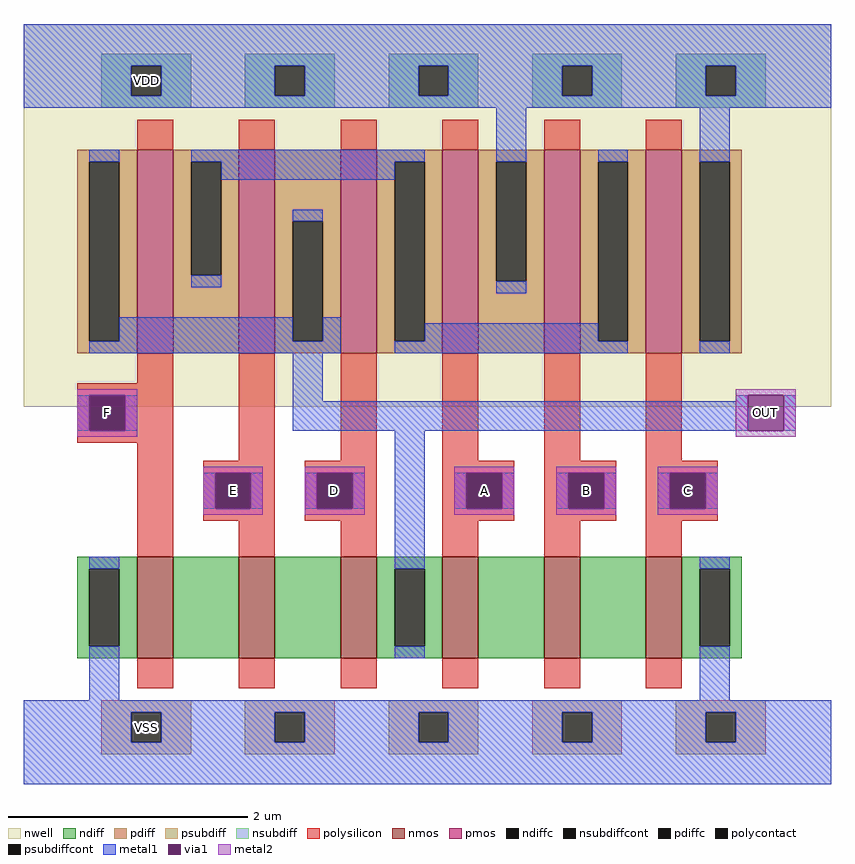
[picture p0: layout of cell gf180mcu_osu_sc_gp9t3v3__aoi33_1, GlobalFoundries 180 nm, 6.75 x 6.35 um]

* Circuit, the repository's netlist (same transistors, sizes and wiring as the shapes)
** sch_path: /foss/designs/AOI33/Pre Layout/Schematic/gf180mcu_osu_sc_gp9t3v3__aoi33_1.sch
.subckt gf180mcu_osu_sc_gp9t3v3__aoi33_1 VDD C B A F E D OUT VSS
*.iopin VSS
*.iopin VDD
*.ipin A
*.ipin D
*.ipin E
*.ipin B
*.ipin C
*.ipin F
*.opin OUT
XM1 OUT A net1 VSS nfet_03v3 L=0.3u W=0.85u nf=1 ad='int((nf+1)/2) * W/nf * 0.18u' as='int((nf+2)/2) * W/nf * 0.18u' pd='2*int((nf+1)/2) * (W/nf + 0.18u)'
+ ps='2*int((nf+2)/2) * (W/nf + 0.18u)' nrd='0.18u / W' nrs='0.18u / W' sa=0 sb=0 sd=0 m=1
XM7 net5 A VDD VDD pfet_03v3 L=0.3u W=1.7u nf=1 ad='int((nf+1)/2) * W/nf * 0.18u' as='int((nf+2)/2) * W/nf * 0.18u' pd='2*int((nf+1)/2) * (W/nf + 0.18u)'
+ ps='2*int((nf+2)/2) * (W/nf + 0.18u)' nrd='0.18u / W' nrs='0.18u / W' sa=0 sb=0 sd=0 m=1
XM8 net5 B VDD VDD pfet_03v3 L=0.3u W=1.7u nf=1 ad='int((nf+1)/2) * W/nf * 0.18u' as='int((nf+2)/2) * W/nf * 0.18u' pd='2*int((nf+1)/2) * (W/nf + 0.18u)'
+ ps='2*int((nf+2)/2) * (W/nf + 0.18u)' nrd='0.18u / W' nrs='0.18u / W' sa=0 sb=0 sd=0 m=1
XM9 net5 C VDD VDD pfet_03v3 L=0.3u W=1.7u nf=1 ad='int((nf+1)/2) * W/nf * 0.18u' as='int((nf+2)/2) * W/nf * 0.18u' pd='2*int((nf+1)/2) * (W/nf + 0.18u)'
+ ps='2*int((nf+2)/2) * (W/nf + 0.18u)' nrd='0.18u / W' nrs='0.18u / W' sa=0 sb=0 sd=0 m=1
XM10 OUT D net5 VDD pfet_03v3 L=0.3u W=1.7u nf=1 ad='int((nf+1)/2) * W/nf * 0.18u' as='int((nf+2)/2) * W/nf * 0.18u' pd='2*int((nf+1)/2) * (W/nf + 0.18u)'
+ ps='2*int((nf+2)/2) * (W/nf + 0.18u)' nrd='0.18u / W' nrs='0.18u / W' sa=0 sb=0 sd=0 m=1
XM11 OUT E net5 VDD pfet_03v3 L=0.3u W=1.7u nf=1 ad='int((nf+1)/2) * W/nf * 0.18u' as='int((nf+2)/2) * W/nf * 0.18u' pd='2*int((nf+1)/2) * (W/nf + 0.18u)'
+ ps='2*int((nf+2)/2) * (W/nf + 0.18u)' nrd='0.18u / W' nrs='0.18u / W' sa=0 sb=0 sd=0 m=1
XM12 OUT F net5 VDD pfet_03v3 L=0.3u W=1.7u nf=1 ad='int((nf+1)/2) * W/nf * 0.18u' as='int((nf+2)/2) * W/nf * 0.18u' pd='2*int((nf+1)/2) * (W/nf + 0.18u)'
+ ps='2*int((nf+2)/2) * (W/nf + 0.18u)' nrd='0.18u / W' nrs='0.18u / W' sa=0 sb=0 sd=0 m=1
XM2 net1 B net2 VSS nfet_03v3 L=0.3u W=0.85u nf=1 ad='int((nf+1)/2) * W/nf * 0.18u' as='int((nf+2)/2) * W/nf * 0.18u' pd='2*int((nf+1)/2) * (W/nf + 0.18u)'
+ ps='2*int((nf+2)/2) * (W/nf + 0.18u)' nrd='0.18u / W' nrs='0.18u / W' sa=0 sb=0 sd=0 m=1
XM3 net2 C VSS VSS nfet_03v3 L=0.3u W=0.85u nf=1 ad='int((nf+1)/2) * W/nf * 0.18u' as='int((nf+2)/2) * W/nf * 0.18u' pd='2*int((nf+1)/2) * (W/nf + 0.18u)'
+ ps='2*int((nf+2)/2) * (W/nf + 0.18u)' nrd='0.18u / W' nrs='0.18u / W' sa=0 sb=0 sd=0 m=1
XM4 net3 F VSS VSS nfet_03v3 L=0.3u W=0.85u nf=1 ad='int((nf+1)/2) * W/nf * 0.18u' as='int((nf+2)/2) * W/nf * 0.18u' pd='2*int((nf+1)/2) * (W/nf + 0.18u)'
+ ps='2*int((nf+2)/2) * (W/nf + 0.18u)' nrd='0.18u / W' nrs='0.18u / W' sa=0 sb=0 sd=0 m=1
XM5 net4 E net3 VSS nfet_03v3 L=0.3u W=0.85u nf=1 ad='int((nf+1)/2) * W/nf * 0.18u' as='int((nf+2)/2) * W/nf * 0.18u' pd='2*int((nf+1)/2) * (W/nf + 0.18u)'
+ ps='2*int((nf+2)/2) * (W/nf + 0.18u)' nrd='0.18u / W' nrs='0.18u / W' sa=0 sb=0 sd=0 m=1
XM6 OUT D net4 VSS nfet_03v3 L=0.3u W=0.85u nf=1 ad='int((nf+1)/2) * W/nf * 0.18u' as='int((nf+2)/2) * W/nf * 0.18u' pd='2*int((nf+1)/2) * (W/nf + 0.18u)'
+ ps='2*int((nf+2)/2) * (W/nf + 0.18u)' nrd='0.18u / W' nrs='0.18u / W' sa=0 sb=0 sd=0 m=1
.ends gf180mcu_osu_sc_gp9t3v3__aoi33_1

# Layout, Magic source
magic
tech gf180mcuD
<< nwell >>
rect 106 63 241 127
<< nmos >>
rect 125 21 131 38
rect 142 21 148 38
rect 159 21 165 38
rect 176 21 182 38
rect 193 21 199 38
rect 210 21 216 38
<< pmos >>
rect 125 72 131 106
rect 142 72 148 106
rect 159 72 165 106
rect 176 72 182 106
rect 193 72 199 106
rect 210 72 216 106
<< ndiff >>
rect 115 36 125 38
rect 115 23 117 36
rect 122 23 125 36
rect 115 21 125 23
rect 131 21 142 38
rect 148 21 159 38
rect 165 36 176 38
rect 165 23 168 36
rect 173 23 176 36
rect 165 21 176 23
rect 182 21 193 38
rect 199 21 210 38
rect 216 36 226 38
rect 216 23 219 36
rect 224 23 226 36
rect 216 21 226 23
<< pdiff >>
rect 115 104 125 106
rect 115 74 117 104
rect 122 74 125 104
rect 115 72 125 74
rect 131 104 142 106
rect 131 85 134 104
rect 139 85 142 104
rect 131 72 142 85
rect 148 94 159 106
rect 148 74 151 94
rect 156 74 159 94
rect 148 72 159 74
rect 165 104 176 106
rect 165 74 168 104
rect 173 74 176 104
rect 165 72 176 74
rect 182 104 193 106
rect 182 84 185 104
rect 190 84 193 104
rect 182 72 193 84
rect 199 104 210 106
rect 199 74 202 104
rect 207 74 210 104
rect 199 72 210 74
rect 216 104 226 106
rect 216 74 219 104
rect 224 74 226 104
rect 216 72 226 74
<< ndiffc >>
rect 117 23 122 36
rect 168 23 173 36
rect 219 23 224 36
<< pdiffc >>
rect 117 74 122 104
rect 134 85 139 104
rect 151 74 156 94
rect 168 74 173 104
rect 185 84 190 104
rect 202 74 207 104
rect 219 74 224 104
<< psubdiff >>
rect 119 12 134 14
rect 119 7 124 12
rect 129 7 134 12
rect 119 5 134 7
rect 143 12 158 14
rect 143 7 148 12
rect 153 7 158 12
rect 143 5 158 7
rect 167 12 182 14
rect 167 7 172 12
rect 177 7 182 12
rect 167 5 182 7
rect 191 12 206 14
rect 191 7 196 12
rect 201 7 206 12
rect 191 5 206 7
rect 215 12 230 14
rect 215 7 220 12
rect 225 7 230 12
rect 215 5 230 7
<< nsubdiff >>
rect 119 120 134 122
rect 119 115 124 120
rect 129 115 134 120
rect 119 113 134 115
rect 143 120 158 122
rect 143 115 148 120
rect 153 115 158 120
rect 143 113 158 115
rect 167 120 182 122
rect 167 115 172 120
rect 177 115 182 120
rect 167 113 182 115
rect 191 120 206 122
rect 191 115 196 120
rect 201 115 206 120
rect 191 113 206 115
rect 215 120 230 122
rect 215 115 220 120
rect 225 115 230 120
rect 215 113 230 115
<< psubdiffcont >>
rect 124 7 129 12
rect 148 7 153 12
rect 172 7 177 12
rect 196 7 201 12
rect 220 7 225 12
<< nsubdiffcont >>
rect 124 115 129 120
rect 148 115 153 120
rect 172 115 177 120
rect 196 115 201 120
rect 220 115 225 120
<< polysilicon >>
rect 125 106 131 111
rect 142 106 148 111
rect 159 106 165 111
rect 176 106 182 111
rect 193 106 199 111
rect 210 106 216 111
rect 125 67 131 72
rect 115 65 131 67
rect 115 59 117 65
rect 123 59 131 65
rect 115 57 131 59
rect 125 38 131 57
rect 142 54 148 72
rect 159 54 165 72
rect 136 52 148 54
rect 136 46 138 52
rect 144 46 148 52
rect 136 44 148 46
rect 153 52 165 54
rect 153 46 155 52
rect 161 46 165 52
rect 153 44 165 46
rect 142 38 148 44
rect 159 38 165 44
rect 176 54 182 72
rect 193 54 199 72
rect 210 54 216 72
rect 176 52 188 54
rect 176 46 180 52
rect 186 46 188 52
rect 176 44 188 46
rect 193 52 205 54
rect 193 46 197 52
rect 203 46 205 52
rect 193 44 205 46
rect 210 52 222 54
rect 210 46 214 52
rect 220 46 222 52
rect 210 44 222 46
rect 176 38 182 44
rect 193 38 199 44
rect 210 38 216 44
rect 125 16 131 21
rect 142 16 148 21
rect 159 16 165 21
rect 176 16 182 21
rect 193 16 199 21
rect 210 16 216 21
<< polycontact >>
rect 117 59 123 65
rect 138 46 144 52
rect 155 46 161 52
rect 180 46 186 52
rect 197 46 203 52
rect 214 46 220 52
<< metal1 >>
rect 106 120 241 127
rect 106 115 124 120
rect 129 115 148 120
rect 153 115 172 120
rect 177 115 196 120
rect 201 115 220 120
rect 225 115 241 120
rect 106 113 241 115
rect 117 104 122 106
rect 134 104 173 106
rect 139 101 168 104
rect 134 83 139 85
rect 151 94 156 96
rect 122 74 151 78
rect 156 74 159 78
rect 117 72 159 74
rect 185 104 190 113
rect 185 82 190 84
rect 202 104 207 106
rect 173 74 202 77
rect 168 72 207 74
rect 219 104 224 113
rect 219 72 224 74
rect 115 59 117 65
rect 123 59 125 65
rect 151 64 156 72
rect 225 64 227 65
rect 151 59 227 64
rect 233 59 235 65
rect 136 46 138 52
rect 144 46 146 52
rect 153 46 155 52
rect 161 46 163 52
rect 117 36 122 38
rect 117 14 122 23
rect 168 36 173 59
rect 178 46 180 52
rect 186 46 188 52
rect 195 46 197 52
rect 203 46 205 52
rect 212 46 214 52
rect 220 46 222 52
rect 168 21 173 23
rect 219 36 224 38
rect 219 14 224 23
rect 106 12 241 14
rect 106 7 124 12
rect 129 7 148 12
rect 153 7 172 12
rect 177 7 196 12
rect 201 7 220 12
rect 225 7 241 12
rect 106 0 241 7
<< via1 >>
rect 117 59 123 65
rect 227 59 233 65
rect 138 46 144 52
rect 155 46 161 52
rect 180 46 186 52
rect 197 46 203 52
rect 214 46 220 52
<< metal2 >>
rect 115 65 125 66
rect 115 59 117 65
rect 123 59 125 65
rect 115 58 125 59
rect 225 65 235 66
rect 225 59 227 65
rect 233 59 235 65
rect 225 58 235 59
rect 136 52 146 53
rect 136 46 138 52
rect 144 46 146 52
rect 136 45 146 46
rect 153 52 163 53
rect 153 46 155 52
rect 161 46 163 52
rect 153 45 163 46
rect 178 52 188 53
rect 178 46 180 52
rect 186 46 188 52
rect 178 45 188 46
rect 195 52 205 53
rect 195 46 197 52
rect 203 46 205 52
rect 195 45 205 46
rect 212 52 222 53
rect 212 46 214 52
rect 220 46 222 52
rect 212 45 222 46
<< labels >>
rlabel nsubdiffcont 124 115 129 120 1 VDD
port 1 n default bidirectional
rlabel metal2 117 59 123 65 7 F
port 5 w default input
rlabel metal2 138 46 144 52 7 E
port 6 w default input
rlabel metal2 155 46 161 52 7 D
port 7 w default input
rlabel metal2 180 46 186 52 7 A
port 4 w default input
rlabel metal2 197 46 203 52 7 B
port 3 w default input
rlabel metal2 214 46 220 52 7 C
port 2 w default input
rlabel psubdiffcont 124 7 129 12 7 VSS
port 9 w default bidirectional
rlabel via1 227 59 233 65 3 OUT
port 8 e default output
<< end >>
